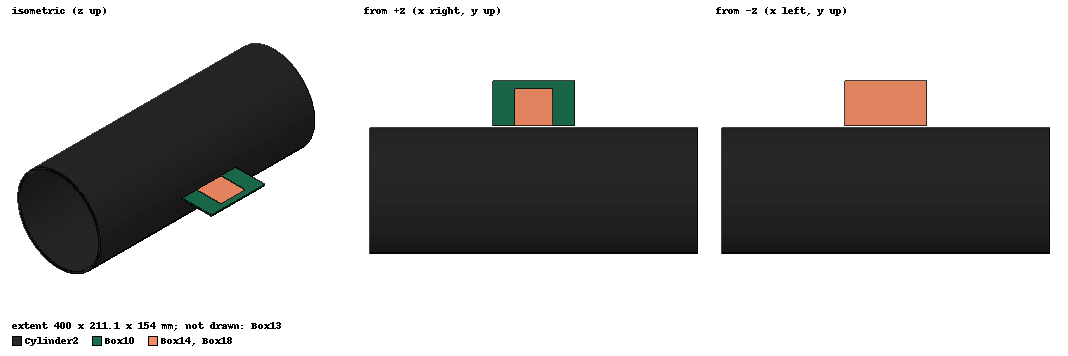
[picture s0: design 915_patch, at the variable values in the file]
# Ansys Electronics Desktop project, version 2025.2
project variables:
  $length = 45.13mm  # tune 40mm..120mm
  $width = 45.13mm  # tune 20mm..60mm
  $indent_length = (11.412526034937*0.01) mm
  $indent_clearance = 1mm  # tune 2.5mm..7.5mm
  $indent_width = 2.95mm
  $roffset = 2mm
  $radius = 77mm
  $corner_length = 3mm  # optimise 1.5mm..4.5mm
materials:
  vacuum: permittivity=1
  copper: permeability=0.999991 conductivity=58000000
  air: permittivity=1.0006 permeability=1.0000004
  graphite: conductivity=70000
  FR4_epoxy: permittivity=4.4 dielectric_loss_tangent=0.02
  cast_iron: permeability=60 conductivity=1500000
  CF - Carbon fiber: conductivity=252.337

design 915_patch (HFSS, HFSS Terminal Network, model units mm)
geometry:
  Box10 [FR4_epoxy] = box(corner=(50mm, $radius+$roffset, 0.8mm), size=(-100mm, $length+10mm, -1.6mm))
  Cylinder2 [CF - Carbon fiber] = cylinder(axis=X, base_centre=(-200mm, 0mm, 0mm), radius=$radius, height=400mm, segments=32)
  Cylinder3 = cylinder(axis=X, base_centre=(200mm, 0mm, 0mm), radius=74mm, height=-400mm)
  Cylinder2.subtract(Cylinder3)
  Box13 [air] = box(corner=(-250mm, 200mm, 100mm), size=(500mm, -400mm, -200mm))
  Box14 [copper] = box(corner=(50mm, $radius+$roffset, -0.8mm), size=(-100mm, $length+10mm, -0.035mm))
  Box15 = box(corner=(-(($indent_width/2)+$indent_clearance), $radius+$roffset, 0.8mm), size=(-(($width/2)-($indent_width/2)-$indent_clearance), $indent_length, 0.035mm))
  Box16 = box(corner=((($indent_width/2)+$indent_clearance), $radius+$roffset, 0.8mm), size=((($width/2)-($indent_width/2)-$indent_clearance), $indent_length, 0.035mm))
  Box17 = box(corner=($width/2, $radius+$indent_length+$roffset, 0.8mm), size=(-$width, $length-$indent_length, 0.035mm))
  Box18 [copper] = box(corner=(-$indent_width/2, 77mm+$roffset, 0.8mm), size=($indent_width, $indent_length, 0.035mm))
  Box18.unite(Box17, Box16, Box15)
  Rectangle1 = rectangle(corner=(-$indent_width/2, $radius+$roffset, 0.835mm), z_size=-1.67mm, x_size=$indent_width)
  coordinate_system RelativeCS1 = origin=(0.5mm, 101.565mm, 0.835mm) x=(1mm, 0mm, 0mm) y=(0mm, 1mm, 0mm)
  Box18.chamfer(Edges=Box18.edge(at (22.565, 124.13, 0.8175)) LeftDistance=$corner_length RightDistance=$corner_length ChamferType=Symmetric ChamferAdditionalGeometryInfo{ChamferEdgeGeometryInfo{ChamferEdgeID=1963 ChamferEdgeSense ChamferEdgeStart{X=22.565mm Y=124.13mm Z=0.8mm} ChamferEdgeEnd{X=22.565mm Y=124.13mm Z=0.835mm} ChamferEdgeMid{X=22.565mm Y=124.13mm Z=0.8175mm} ChamferEdgeMidTangent(0, 0, 1)}})  # suppressed
  Box18.chamfer(Edges=Box18.edge(at (-22.565, 79, 0.8175)) LeftDistance=$corner_length RightDistance=$corner_length ChamferType=Symmetric ChamferAdditionalGeometryInfo{ChamferEdgeGeometryInfo{ChamferEdgeID=1904 ChamferEdgeSense ChamferEdgeStart{X=-22.565mm Y=79mm Z=0.8mm} ChamferEdgeEnd{X=-22.565mm Y=79mm Z=0.835mm} ChamferEdgeMid{X=-22.565mm Y=79mm Z=0.8175mm} ChamferEdgeMidTangent(0, 0, 1)}})  # suppressed
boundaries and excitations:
  Rad1: Radiation Objects=Box13
  Box18_T1: Terminal port=1 Faces=Box18.face(-y) TerminalResistance=50ohm
  1: Lumped Port Faces=Rectangle1.face LumpedPortType=Terminal Impedance=50ohm
  reference conductors: Box14
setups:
  Setup1: HfssDriven Frequency=1.575GHz MaxDeltaS=0.02 MaximumPasses=15 MinimumPasses=1 MinimumConvergedPasses=1 PercentRefinement=30 BasisOrder=1 PortAccuracy=2 DrivenSolverType="Direct Solver"
    sweep Sweep: 1400MHz to 1800MHz, 60 points; disabled Type=Discrete SaveFields SaveRadFields
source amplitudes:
  1:1: 1V 0deg
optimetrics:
  OptimizationSetup1: Optimization disabled Optimizer="kDX ASO" AnalysisStopOptions{StopForNumIteration MaxNumIteration=20 MinNumIteration=10} CostFuncNormType=L2 Acceptable_Cost=0 Noise=0.0001 UpdateDesignWhenDone
    vary $corner_length: Min=0.5mm Max=5mm MinStep=0.03mm MaxStep=0.3mm MinFocus=1.5mm MaxFocus=4.5mm start=3mm
    goal dB(GainRHCP) Maximize 0 weight 1 on Setup1 : LastAdaptive at Theta 90deg, Phi 0deg, Freq 1.575GHz
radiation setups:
  Infinite Sphere1: Infinite Sphere Theta=0deg..180deg step 2deg Phi=-180deg..180deg step 2deg
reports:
  Gain Plot1: dB(GainTotal) vs Phi, Theta on Setup1 : LastAdaptive, Infinite Sphere1 [Freq=1.575GHz]
  Gain Plot2: dB(GainRHCP) vs Phi, Theta on Setup1 : LastAdaptive, Infinite Sphere1 [Freq=1.575GHz]
  Terminal VSWR Plot1: VSWRt(Box18_T1) vs Freq on Setup1 : Sweep
  Terminal S Parameter Plot1: dB(St(Box18_T1,Box18_T1)) vs Freq on Setup1 : Sweep
